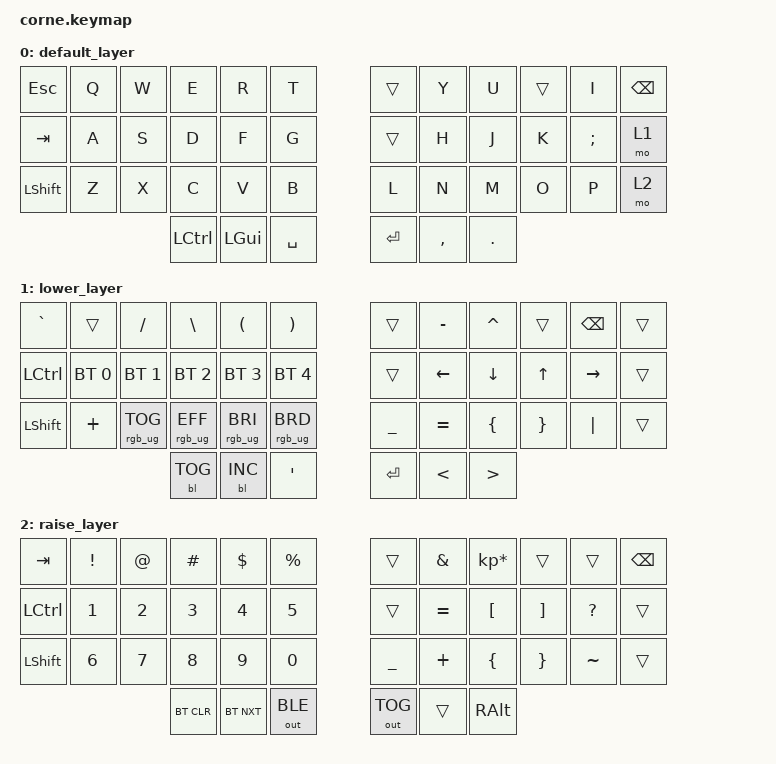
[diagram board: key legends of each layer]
/*
 * Copyright (c) 2020 The ZMK Contributors
 *
 * SPDX-License-Identifier: MIT
 */

#include <behaviors.dtsi>
#include <dt-bindings/zmk/keys.h>
#include <dt-bindings/zmk/bt.h>
#include <dt-bindings/zmk/rgb.h>
#include <dt-bindings/zmk/backlight.h>
#include <dt-bindings/zmk/outputs.h>

/ {
        keymap {
                compatible = "zmk,keymap";

                default_layer {
// -----------------------------------------------------------------------------------------
// |  ESC |  Q  |  W  |   E  |  R  |  T  |   |       |  Y   |  U  |       |  I  | BKSP |
// |  TAB |  A  |  S  |   D  |  F  |  G  |   |       |  H   |  J  |   K   |  ;  | LWR  |
// | SHFT |  Z  |  X  |   C  |  V  |  B  |   |   L   |  N   |  M  |   O   |  P  | UPR  |
//                    | CTRL | GUI | SPC |   |  ENT  |  ,   |  .  |
                        bindings = <
   &kp ESC   &kp Q &kp W &kp E &kp R &kp T   &trans  &kp Y     &kp U   &trans  &kp I    &kp BSPC
   &kp TAB   &kp A &kp S &kp D &kp F &kp G   &trans  &kp H     &kp J   &kp K   &kp SEMI &mo 1
   &kp LSHFT &kp Z &kp X &kp C &kp V &kp B   &kp L   &kp N     &kp M   &kp O   &kp P    &mo 2
              &kp LCTRL &kp LGUI &kp SPACE   &kp RET &kp COMMA &kp DOT
                        >;
                };

                lower_layer {
// -----------------------------------------------------------------------------------------
// |  `   |     |  /  |  \  |  (  |  )  |   |     |  -  |  ^  |     |     | BKSP |
// | CTRL | BT1 | BT2 | BT3 | BT4 | BT5 |   |     | LFT | DWN |  UP | RGT | UPR  |
// | SHFT |  +  |  r  |  g  |  b  |  r  |   |  _  |  =  |  {  |  }  | "|" | LWR  |
//                    |     |     |  '  |   | ENT |  LT |  GT |
                        bindings = <
   &kp GRAVE  &trans        &kp FSLH        &kp BSLH        &kp LPAR        &kp RPAR          &trans     &kp MINUS &kp CARET &trans    &kp BSPC  &trans
   &kp LCTRL  &bt BT_SEL 0  &bt BT_SEL 1    &bt BT_SEL 2    &bt BT_SEL 3    &bt BT_SEL 4      &trans     &kp LEFT  &kp DOWN  &kp UP    &kp RIGHT &trans
   &kp LSHFT  &kp PLUS      &rgb_ug RGB_TOG &rgb_ug RGB_EFF &rgb_ug RGB_BRI &rgb_ug RGB_BRD   &kp UNDER  &kp EQUAL &kp LBRC  &kp RBRC  &kp PIPE  &trans
                                            &bl BL_TOG      &bl BL_INC      &kp SQT           &kp RET    &kp LT    &kp GT
                        >;
                };

                raise_layer {
// -----------------------------------------------------------------------------------------
// |  TAB |  !  |  @  |  #  |  $  |  %  |   |     |  &  |  *  |     |     | BKSP |
// | CTRL |  1  |  2  |  3  |  4  |  5  |   |     |  =  |  [  |  ]  |  ?  | UPR  |
// | SHFT |  6  |  7  |  8  |  9  |  0  |   |  _  |  +  |  {  |  }  |  ~  | LWR  |
//                    | BTC | BTN | BLE |   | TOG |     | ALT |
                        bindings = <
   &kp TAB   &kp EXCL &kp AT &kp HASH   &kp DLLR   &kp PRCNT      &trans        &kp AMPS  &kp KP_MULTIPLY &trans   &trans    &kp BSPC
   &kp LCTRL &kp N1   &kp N2 &kp N3     &kp N4     &kp N5         &trans        &kp EQUAL &kp LBKT        &kp RBKT &kp QMARK    &trans
   &kp LSHFT &kp N6   &kp N7 &kp N8     &kp N9     &kp N0         &kp UNDER     &kp PLUS  &kp LBRC        &kp RBRC &kp TILDE &trans
                             &bt BT_CLR &bt BT_NXT &out OUT_BLE   &out OUT_TOG  &trans    &kp RALT
                        >;
                };
        };
};
